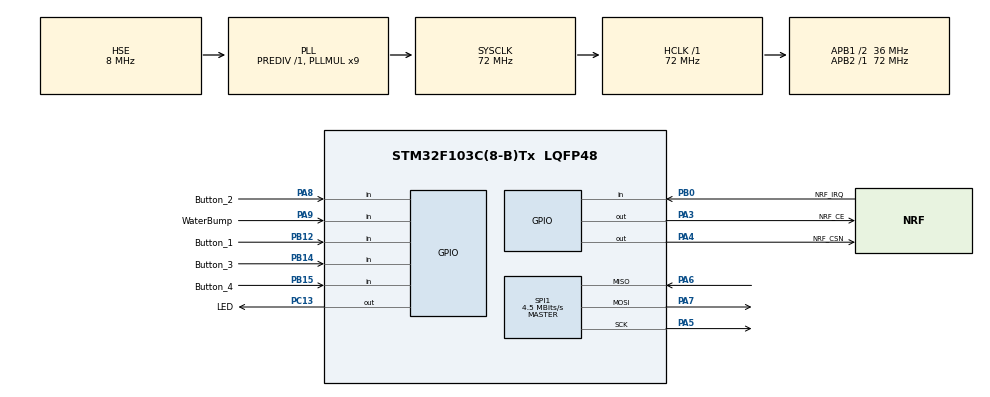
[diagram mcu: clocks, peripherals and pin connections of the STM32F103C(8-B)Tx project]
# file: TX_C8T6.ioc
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Mcu.Family=STM32F1
Mcu.Name=STM32F103C(8-B)Tx
Mcu.Package=LQFP48
NVIC.PriorityGroup=NVIC_PRIORITYGROUP_4
PA13.Mode=Serial_Wire
PA13.Signal=SYS_JTMS-SWDIO
PA14.Mode=Serial_Wire
PA14.Signal=SYS_JTCK-SWCLK
PA3.GPIO_Label=NRF_CE
PA3.Signal=GPIO_Output
PA4.GPIO_Label=NRF_CSN
PA4.Signal=GPIO_Output
PA5.Mode=Full_Duplex_Master
PA5.Signal=SPI1_SCK
PA6.Mode=Full_Duplex_Master
PA6.Signal=SPI1_MISO
PA7.Mode=Full_Duplex_Master
PA7.Signal=SPI1_MOSI
PA8.GPIO_Label=Button_2
PA8.GPIO_PuPd=GPIO_PULLDOWN
PA8.Signal=GPIO_Input
PA9.GPIO_Label=WaterBump
PA9.GPIO_PuPd=GPIO_PULLDOWN
PA9.Signal=GPIO_Input
PB0.GPIO_Label=NRF_IRQ
PB0.Signal=GPIO_Input
PB12.GPIO_Label=Button_1
PB12.GPIO_PuPd=GPIO_PULLDOWN
PB12.Signal=GPIO_Input
PB14.GPIO_Label=Button_3
PB14.GPIO_PuPd=GPIO_PULLDOWN
PB14.Signal=GPIO_Input
PB15.GPIO_Label=Button_4
PB15.GPIO_PuPd=GPIO_PULLDOWN
PB15.Signal=GPIO_Input
PC13-TAMPER-RTC.GPIO_Label=LED
PC13-TAMPER-RTC.Signal=GPIO_Output
PD0-OSC_IN.Mode=HSE-External-Oscillator
PD0-OSC_IN.Signal=RCC_OSC_IN
PD1-OSC_OUT.Mode=HSE-External-Oscillator
PD1-OSC_OUT.Signal=RCC_OSC_OUT
ProjectManager.HeapSize=0x200
ProjectManager.StackSize=0x400
ProjectManager.TargetToolchain=STM32CubeIDE
RCC.AHBFreq_Value=72000000
RCC.APB1CLKDivider=RCC_HCLK_DIV2
RCC.APB1Freq_Value=36000000
RCC.APB1TimFreq_Value=72000000
RCC.APB2Freq_Value=72000000
RCC.APB2TimFreq_Value=72000000
RCC.HCLKFreq_Value=72000000
RCC.PLLMUL=RCC_PLL_MUL9
RCC.PLLSourceVirtual=RCC_PLLSOURCE_HSE
RCC.SYSCLKFreq_VALUE=72000000
RCC.SYSCLKSource=RCC_SYSCLKSOURCE_PLLCLK
RCC.USBFreq_Value=72000000
SPI1.BaudRatePrescaler=SPI_BAUDRATEPRESCALER_16
SPI1.CalculateBaudRate=4.5 MBits/s
SPI1.Direction=SPI_DIRECTION_2LINES
SPI1.Mode=SPI_MODE_MASTER
SPI1.VirtualType=VM_MASTER
board=custom

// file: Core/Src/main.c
/* USER CODE BEGIN Header */
/**
 ******************************************************************************
 * @file           : main.c
 * @brief          : Main program body
 ******************************************************************************
 * @attention
 *
 * Copyright (c) 2024 STMicroelectronics.
 * All rights reserved.
 *
 * This software is licensed under terms that can be found in the LICENSE file
 * in the root directory of this software component.
 * If no LICENSE file comes with this software, it is provided AS-IS.
 *
 ******************************************************************************
 */
/* USER CODE END Header */
#include "main.h"

/* USER CODE BEGIN Includes */
#include "NRF24L01.h"
/* USER CODE END Includes */

/* USER CODE BEGIN PD */
#define SIZE_TX_BUF 4

nrf24 nrfTx;
uint8_t status_tx;
uint8_t tx_data[SIZE_TX_BUF];
uint8_t tx_address[] = { 0xEA, 0xDD, 0xCC, 0xBB, 0xAA };
/* USER CODE END PD */

SPI_HandleTypeDef hspi1;

void SystemClock_Config(void);
static void MX_GPIO_Init(void);
static void MX_SPI1_Init(void);

int main(void)
{

  /* MCU Configuration--------------------------------------------------------*/

  /* Reset of all peripherals, Initializes the Flash interface and the Systick. */
  HAL_Init();

  /* Configure the system clock */
  SystemClock_Config();

  /* Initialize all configured peripherals */
  MX_GPIO_Init();
  MX_SPI1_Init();
  /* USER CODE BEGIN 2 */
	nrfTx.CE_port = NRF_CE_GPIO_Port;
	nrfTx.CE_pin = NRF_CE_Pin;
	nrfTx.CSN_port = NRF_CSN_GPIO_Port;
	nrfTx.CSN_pin = NRF_CSN_Pin;
	nrfTx.IRQ_port = NRF_IRQ_GPIO_Port;
	nrfTx.IRQ_pin = NRF_IRQ_Pin;
	nrfTx.hSPIx = &hspi1;
	NRF24_Init(&nrfTx);
	NRF24_Set_TxAddress(&nrfTx, tx_address);
  /* USER CODE END 2 */

  /* Infinite loop */
	while (1) {

    /* USER CODE BEGIN 3 */
		tx_data[0] = HAL_GPIO_ReadPin(Button_1_GPIO_Port, Button_1_Pin);
		tx_data[1] = HAL_GPIO_ReadPin(Button_2_GPIO_Port, Button_2_Pin);
		tx_data[2] = HAL_GPIO_ReadPin(Button_3_GPIO_Port, Button_3_Pin);
		tx_data[3] = HAL_GPIO_ReadPin(Button_4_GPIO_Port, Button_4_Pin);
//		tx_data[4] = HAL_GPIO_ReadPin(WaterBump_GPIO_Port, WaterBump_Pin);

		NRF24_Set_Mode(&nrfTx, TX_MODE);
		status_tx = NRF24_Transmit(&nrfTx, tx_data, sizeof(tx_data));

		if (status_tx == 1) {
			NRF24_Set_Mode(&nrfTx, STANDBY);
			HAL_GPIO_TogglePin(LED_GPIO_Port, LED_Pin);
		}
		HAL_Delay(20);
	}
  /* USER CODE END 3 */
}

void SystemClock_Config(void)
{
  RCC_OscInitTypeDef RCC_OscInitStruct = {0};
  RCC_ClkInitTypeDef RCC_ClkInitStruct = {0};

  /** Initializes the RCC Oscillators according to the specified parameters
  * in the RCC_OscInitTypeDef structure.
  */
  RCC_OscInitStruct.OscillatorType = RCC_OSCILLATORTYPE_HSE;
  RCC_OscInitStruct.HSEState = RCC_HSE_ON;
  RCC_OscInitStruct.HSEPredivValue = RCC_HSE_PREDIV_DIV1;
  RCC_OscInitStruct.HSIState = RCC_HSI_ON;
  RCC_OscInitStruct.PLL.PLLState = RCC_PLL_ON;
  RCC_OscInitStruct.PLL.PLLSource = RCC_PLLSOURCE_HSE;
  RCC_OscInitStruct.PLL.PLLMUL = RCC_PLL_MUL9;
  if (HAL_RCC_OscConfig(&RCC_OscInitStruct) != HAL_OK)
  {
    Error_Handler();
  }

  /** Initializes the CPU, AHB and APB buses clocks
  */
  RCC_ClkInitStruct.ClockType = RCC_CLOCKTYPE_HCLK|RCC_CLOCKTYPE_SYSCLK
                              |RCC_CLOCKTYPE_PCLK1|RCC_CLOCKTYPE_PCLK2;
  RCC_ClkInitStruct.SYSCLKSource = RCC_SYSCLKSOURCE_PLLCLK;
  RCC_ClkInitStruct.AHBCLKDivider = RCC_SYSCLK_DIV1;
  RCC_ClkInitStruct.APB1CLKDivider = RCC_HCLK_DIV2;
  RCC_ClkInitStruct.APB2CLKDivider = RCC_HCLK_DIV1;

  if (HAL_RCC_ClockConfig(&RCC_ClkInitStruct, FLASH_LATENCY_2) != HAL_OK)
  {
    Error_Handler();
  }
}

static void MX_SPI1_Init(void)
{

  /* SPI1 parameter configuration*/
  hspi1.Instance = SPI1;
  hspi1.Init.Mode = SPI_MODE_MASTER;
  hspi1.Init.Direction = SPI_DIRECTION_2LINES;
  hspi1.Init.DataSize = SPI_DATASIZE_8BIT;
  hspi1.Init.CLKPolarity = SPI_POLARITY_LOW;
  hspi1.Init.CLKPhase = SPI_PHASE_1EDGE;
  hspi1.Init.NSS = SPI_NSS_SOFT;
  hspi1.Init.BaudRatePrescaler = SPI_BAUDRATEPRESCALER_16;
  hspi1.Init.FirstBit = SPI_FIRSTBIT_MSB;
  hspi1.Init.TIMode = SPI_TIMODE_DISABLE;
  hspi1.Init.CRCCalculation = SPI_CRCCALCULATION_DISABLE;
  hspi1.Init.CRCPolynomial = 10;
  if (HAL_SPI_Init(&hspi1) != HAL_OK)
  {
    Error_Handler();
  }

}

static void MX_GPIO_Init(void)
{
  GPIO_InitTypeDef GPIO_InitStruct = {0};

  /* GPIO Ports Clock Enable */
  __HAL_RCC_GPIOC_CLK_ENABLE();
  __HAL_RCC_GPIOD_CLK_ENABLE();
  __HAL_RCC_GPIOA_CLK_ENABLE();
  __HAL_RCC_GPIOB_CLK_ENABLE();

  /*Configure GPIO pin Output Level */
  HAL_GPIO_WritePin(LED_GPIO_Port, LED_Pin, GPIO_PIN_RESET);

  /*Configure GPIO pin Output Level */
  HAL_GPIO_WritePin(GPIOA, NRF_CE_Pin|NRF_CSN_Pin, GPIO_PIN_RESET);

  /*Configure GPIO pin : LED_Pin */
  GPIO_InitStruct.Pin = LED_Pin;
  GPIO_InitStruct.Mode = GPIO_MODE_OUTPUT_PP;
  GPIO_InitStruct.Pull = GPIO_NOPULL;
  GPIO_InitStruct.Speed = GPIO_SPEED_FREQ_LOW;
  HAL_GPIO_Init(LED_GPIO_Port, &GPIO_InitStruct);

  /*Configure GPIO pins : NRF_CE_Pin NRF_CSN_Pin */
  GPIO_InitStruct.Pin = NRF_CE_Pin|NRF_CSN_Pin;
  GPIO_InitStruct.Mode = GPIO_MODE_OUTPUT_PP;
  GPIO_InitStruct.Pull = GPIO_NOPULL;
  GPIO_InitStruct.Speed = GPIO_SPEED_FREQ_LOW;
  HAL_GPIO_Init(GPIOA, &GPIO_InitStruct);

  /*Configure GPIO pin : NRF_IRQ_Pin */
  GPIO_InitStruct.Pin = NRF_IRQ_Pin;
  GPIO_InitStruct.Mode = GPIO_MODE_INPUT;
  GPIO_InitStruct.Pull = GPIO_NOPULL;
  HAL_GPIO_Init(NRF_IRQ_GPIO_Port, &GPIO_InitStruct);

  /*Configure GPIO pins : Button_1_Pin Button_3_Pin Button_4_Pin */
  GPIO_InitStruct.Pin = Button_1_Pin|Button_3_Pin|Button_4_Pin;
  GPIO_InitStruct.Mode = GPIO_MODE_INPUT;
  GPIO_InitStruct.Pull = GPIO_PULLDOWN;
  HAL_GPIO_Init(GPIOB, &GPIO_InitStruct);

  /*Configure GPIO pins : Button_2_Pin WaterBump_Pin */
  GPIO_InitStruct.Pin = Button_2_Pin|WaterBump_Pin;
  GPIO_InitStruct.Mode = GPIO_MODE_INPUT;
  GPIO_InitStruct.Pull = GPIO_PULLDOWN;
  HAL_GPIO_Init(GPIOA, &GPIO_InitStruct);

}

void Error_Handler(void)
{
	__disable_irq();
	while (1) {
	}
}
